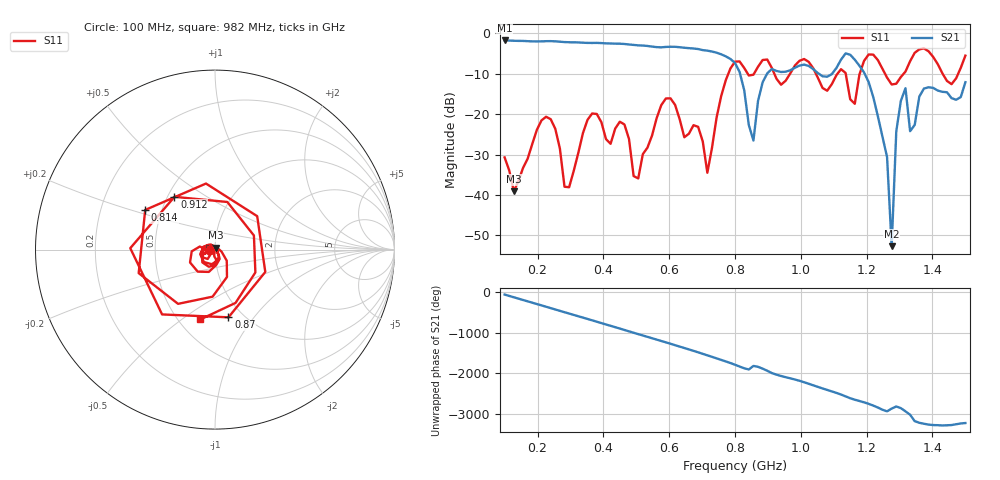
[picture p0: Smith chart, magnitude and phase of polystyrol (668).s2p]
! NanoVNA-App
! Date: 2025-09-25 15:35:05
! Start: 100MHz Stop: 1,5GHz Points: 101
! S-Parameter data: F S11 S21 S12 S22
# Hz S RI R 50
!  Frequency  S11_Real  S11_Imag  S21_Real  S21_Imag  S12_Real  S12_Imag  S22_Real  S22_Imag
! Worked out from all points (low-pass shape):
!   101 points, 100 MHz to 1.5 GHz, reference 50 ohm
!   highest |S21| = -1.80 dB at 100 MHz (marker M1); lowest = -52.7 dB at 1.276 GHz (marker M2)
!   |S21| within 3 dB of the highest: start of sweep to 743 MHz
!   lowest |S11| = -39.1 dB at 128 MHz (marker M3), VSWR 1.02, Z = 50.3 + j1.06 ohm
!   |S11| at or under -10 dB: start of sweep to 779.9 MHz; 1.046 GHz to 1.112 GHz (66.06 MHz wide, 6.12 % of centre); 1.256 GHz to 1.313 GHz (56.97 MHz wide, 4.44 % of centre) (the widest 3 of 7)
!   S12 and S22 are empty: the file has one direction only
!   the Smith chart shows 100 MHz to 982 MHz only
!   S11 on the Smith chart (normalised r, x): 100 MHz: 0.94, -0.01; 814 MHz: 0.40, +0.22; 870 MHz: 0.85, -0.76; 912 MHz: 0.54, +0.37; 982 MHz: 0.64, -0.59
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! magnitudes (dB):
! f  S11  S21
! 100 MHz  -30.7  -1.8
! 128 MHz  -39.1  -1.9
! 212 MHz  -21.6  -2.0
! 282 MHz  -38.0  -2.2
! 338 MHz  -24.7  -2.4
! 506 MHz  -35.9  -3.0
! 576 MHz  -17.8  -3.5
! 716 MHz  -34.5  -4.3
! 800 MHz  -7.0  -7.4
! 814 MHz  -7.0  -9.6
! 856 MHz  -10.3  -26.5
! 870 MHz  -8.3  -16.8
! 912 MHz  -8.6  -8.9
! 982 MHz  -8.0  -8.5
! 1.038 GHz  -8.7  -8.9
! 1.164 GHz  -17.5  -6.6
! 1.206 GHz  -5.3  -12.1
! 1.262 GHz  -11.0  -30.6
! 1.276 GHz  -12.7  -52.7
! 1.29 GHz  -12.5  -24.3
! 1.318 GHz  -9.5  -13.6
! 1.5 GHz  -5.5  -12.1
